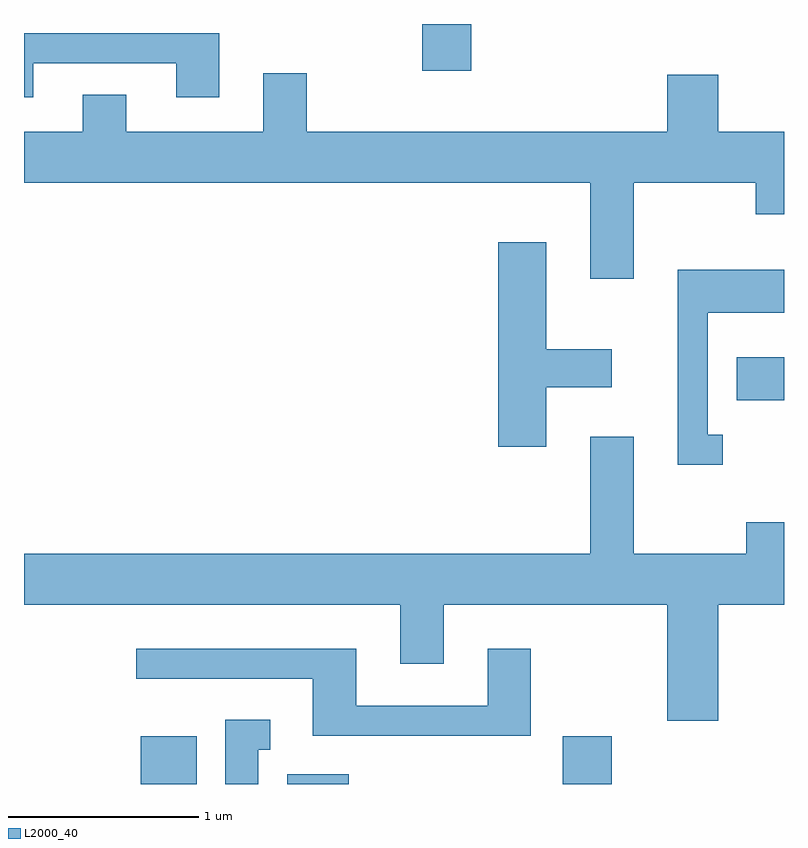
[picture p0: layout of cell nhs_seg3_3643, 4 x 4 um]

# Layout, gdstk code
import gdstk
lib = gdstk.Library(unit=1e-6, precision=1e-09)
def R(c, l, rs):  # rectangles x0, y0, x1, y1
    for r in rs: c.add(gdstk.rectangle(r[:2], r[2:], *l))
def P(c, l, *ps):  # polygons
    for p in ps: c.add(gdstk.Polygon(p, *l))
L2000_40 = (2000, 40)

nhs_seg3_3643 = lib.new_cell('nhs_seg3_3643')
R(nhs_seg3_3643, L2000_40, [(292.226,1193.892,292.519,1194.144), (292.996,1193.892,293.319,1193.944), (294.446,1193.892,294.704,1194.144), (295.361,1195.911,295.611,1196.139), (293.706,1197.646,293.964,1197.892)])
P(nhs_seg3_3643, L2000_40, [(291.659,1197.686),(292.411,1197.686),(292.411,1197.506),(292.639,1197.506),(292.639,1197.844),(291.611,1197.844),(291.611,1197.506),(291.659,1197.506)],
  [(294.819,1197.056),(295.461,1197.056),(295.461,1196.891),(295.611,1196.891),(295.611,1197.324),(295.264,1197.324),(295.264,1197.624),(294.996,1197.624),(294.996,1197.324),(293.099,1197.324),(293.099,1197.634),(292.871,1197.634),(292.871,1197.324),(292.149,1197.324),(292.149,1197.519),(291.921,1197.519),(291.921,1197.324),(291.611,1197.324),(291.611,1197.056),(294.591,1197.056),(294.591,1196.551),(294.819,1196.551)],
  [(294.359,1195.981),(294.704,1195.981),(294.704,1196.179),(294.359,1196.179),(294.359,1196.744),(294.106,1196.744),(294.106,1195.666),(294.359,1195.666)],
  [(295.288,1195.729),(295.209,1195.729),(295.209,1196.371),(295.611,1196.371),(295.611,1196.599),(295.051,1196.599),(295.051,1195.571),(295.288,1195.571)],
  [(295.264,1194.836),(295.611,1194.836),(295.611,1195.269),(295.411,1195.269),(295.411,1195.104),(294.819,1195.104),(294.819,1195.719),(294.591,1195.719),(294.591,1195.104),(291.611,1195.104),(291.611,1194.836),(293.591,1194.836),(293.591,1194.526),(293.819,1194.526),(293.819,1194.836),(294.996,1194.836),(294.996,1194.226),(295.264,1194.226)],
  [(294.279,1194.604),(294.051,1194.604),(294.051,1194.304),(293.359,1194.304),(293.359,1194.604),(292.203,1194.604),(292.203,1194.446),(293.131,1194.446),(293.131,1194.146),(294.279,1194.146)],
  [(292.844,1194.071),(292.908,1194.071),(292.908,1194.229),(292.671,1194.229),(292.671,1193.892),(292.844,1193.892)])

lib.write_gds('nhs_seg3_3643.gds')
